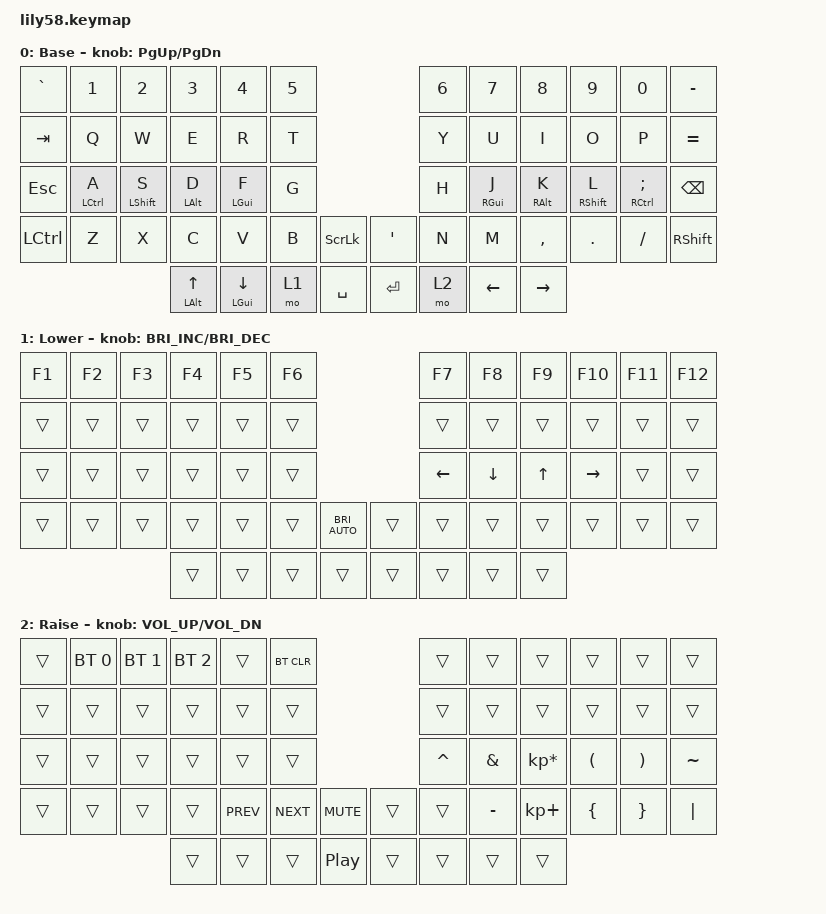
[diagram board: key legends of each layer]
/*
 * Copyright (c) 2020 The ZMK Contributors
 *
 * SPDX-License-Identifier: MIT
 */

#include <behaviors.dtsi>
#include <dt-bindings/zmk/bt.h>
#include <dt-bindings/zmk/keys.h>

/*
 * Lily58 — 3 layers (Base / Lower / Raise), rotary encoder on the LEFT half.
 *
 * Layer access:  hold LOWER (left thumb, `&mo 1`)  ·  hold RAISE (right thumb, `&mo 2`)
 *
 * The "ENC" cell is the left inner-bottom dead slot (no switch fitted). It holds a
 * marker keycode per layer purely so keymap-drawer draws the encoder knob — see
 * CLAUDE.md. The real encoder action is the `sensor-bindings` line on each layer.
 */
/* Homerow mods — urob's "timeless" recipe. See docs/timeless-homerow-mods.md.
 *
 * The tapping term is deliberately long and is NOT what decides tap vs hold:
 *   - balanced          — another key pressed AND released while held = mod, resolves instantly
 *   - prior-idle 150ms  — pressed right after another key = letter, no delay while typing
 *   - trigger positions — next key on the same hand = a roll, so force a letter
 *   - on-release        — defers that check to release, so same-hand mods can still stack
 *   - quick-tap 225ms   — re-pressing the same key after tapping it stays a letter (ff, ll)
 *
 * Position 42 is omitted from KEYS_L: it is the encoder's dead slot, no switch fitted.
 */

#define KEYS_L  0  1  2  3  4  5 12 13 14 15 16 17 24 25 26 27 28 29 36 37 38 39 40 41
#define KEYS_R  6  7  8  9 10 11 18 19 20 21 22 23 30 31 32 33 34 35 43 44 45 46 47 48 49
#define THUMBS 50 51 52 53 54 55 56 57

/ {
    behaviors {
        hml: homerow_mod_left {
            compatible = "zmk,behavior-hold-tap";
            #binding-cells = <2>;
            bindings = <&kp>, <&kp>;

            flavor = "balanced";
            tapping-term-ms = <280>;
            quick-tap-ms = <225>;
            require-prior-idle-ms = <150>;
            hold-trigger-key-positions = <KEYS_R THUMBS>;
            hold-trigger-on-release;
        };

        hmr: homerow_mod_right {
            compatible = "zmk,behavior-hold-tap";
            #binding-cells = <2>;
            bindings = <&kp>, <&kp>;

            flavor = "balanced";
            tapping-term-ms = <280>;
            quick-tap-ms = <225>;
            require-prior-idle-ms = <150>;
            hold-trigger-key-positions = <KEYS_L THUMBS>;
            hold-trigger-on-release;
        };
    };

    keymap {
        compatible = "zmk,keymap";

        /*
         * ## Base
         *
         * |  L1   |  L2  | L3  |  L4  |  L5  |  L6  |  ENC  |  R0  |  R1  |  R2  |  R3  | R4  |  R5  |  R6   |
         * |-------|------|-----|------|------|------|-------|------|------|------|------|-----|------|-------|
         * | `     |  1   |  2  |  3   |  4   |  5   |       |      |  6   |  7   |  8   |  9  |  0   |  -    |
         * | TAB   |  Q   |  W  |  E   |  R   |  T   |       |      |  Y   |  U   |  I   |  O  |  P   |  =    |
         * | ESC   |  A   |  S  |  D   |  F   |  G   |       |      |  H   |  J   |  K   |  L  |  ;   | BSPC  |
         * | LCTRL |  Z   |  X  |  C   |  V   |  B   |  scrl |  '   |  N   |  M   |  ,   |  .  |  /   | RSHFT |
         *
         * Homerow mods on row 3 — tap = letter, hold = modifier:
         *
         * |  A  |  S  |  D  |  F  |     |  J  |  K  |  L  |  ;  |
         * |-----|-----|-----|-----|-----|-----|-----|-----|-----|
         * |  ⌃  |  ⇧  |  ⌥  |  ⌘  |     |  ⌘  |  ⌥  |  ⇧  |  ⌃  |
         *
         * |  LT1  |  LT2  |  LT3  |  LT4  |  RT1  |  RT2  |  RT3  |  RT4  |
         * |-------|-------|-------|-------|-------|-------|-------|-------|
         * | ⌥ / ↑ | ⌘ / ↓ | LOWER | SPACE | ENTER | RAISE |  ←    |  →    |
         *
         * ⌥ / ↑ and ⌘ / ↓ are mod-taps: tap = arrow, hold = modifier.
         * Encoder: PAGE UP / PAGE DOWN.
         */

        default_layer {
            display-name = "Base";
            bindings = <
&kp GRAVE   &kp N1        &kp N2        &kp N3       &kp N4         &kp N5                              &kp N6  &kp N7       &kp N8       &kp N9        &kp N0           &kp MINUS
&kp TAB     &kp Q         &kp W         &kp E        &kp R          &kp T                               &kp Y   &kp U        &kp I        &kp O         &kp P            &kp EQUAL
&kp ESCAPE  &hml LCTRL A  &hml LSHFT S  &hml LALT D  &hml LGUI F    &kp G                               &kp H   &hmr RGUI J  &hmr RALT K  &hmr RSHFT L  &hmr RCTRL SEMI  &kp BACKSPACE
&kp LCTRL   &kp Z         &kp X         &kp C        &kp V          &kp B   &kp SCROLLLOCK    &kp APOS  &kp N   &kp M        &kp COMMA    &kp DOT       &kp FSLH         &kp RSHFT
                                        &mt LALT UP  &mt LGUI DOWN  &mo 1   &kp SPACE         &kp RET   &mo 2   &kp LEFT     &kp RIGHT
            >;

            sensor-bindings = <&inc_dec_kp PAGE_UP PAGE_DOWN>;
        };

        /*
         * ## Lower — vim arrows only, everything else transparent
         *
         * |  L1   |  L2  | L3  |  L4  |  L5  |  L6  |  ENC  |  R0  |  R1  |  R2  |  R3  | R4  |  R5  |  R6   |
         * |-------|------|-----|------|------|------|-------|------|------|------|------|-----|------|-------|
         * |       |      |     |      |      |      |       |      |      |      |      |     |      |       |
         * |       |      |     |      |      |      |       |      |      |      |      |     |      |       |
         * |       |      |     |      |      |      |       |      |  ←   |  ↓   |  ↑   |  →  |      |       |
         * |       |      |     |      |      |      | brght |      |      |      |      |     |      |       |
         *
         * Arrows sit on H / J / K / L. Encoder: brightness up / down.
         */

        lower_layer {
            display-name = "Lower";
            bindings = <
&kp F1  &kp F2  &kp F3  &kp F4  &kp F5  &kp F6                                   &kp F7    &kp F8    &kp F9  &kp F10    &kp F11  &kp F12
&trans  &trans  &trans  &trans  &trans  &trans                                   &trans    &trans    &trans  &trans     &trans   &trans
&trans  &trans  &trans  &trans  &trans  &trans                                   &kp LEFT  &kp DOWN  &kp UP  &kp RIGHT  &trans   &trans
&trans  &trans  &trans  &trans  &trans  &trans  &kp C_BRIGHTNESS_AUTO    &trans  &trans    &trans    &trans  &trans     &trans   &trans
                        &trans  &trans  &trans  &trans                   &trans  &trans    &trans    &trans
            >;

            sensor-bindings = <&inc_dec_kp C_BRIGHTNESS_INC C_BRIGHTNESS_DEC>;
        };

        /*
         * ## Raise — Bluetooth profiles, media, symbols
         *
         * |  L1   |  L2  | L3  |  L4  |  L5  |  L6  |  ENC  |  R0  |  R1  |  R2  |  R3  | R4  |  R5  |  R6   |
         * |-------|------|-----|------|------|------|-------|------|------|------|------|-----|------|-------|
         * |       | BT 0 | BT 1| BT 2 |      | BTCLR|       |      |      |      |      |     |      |       |
         * |       |      |     |      |      |      |       |      |      |      |      |     |      |       |
         * |       |      |     |      |      |      |       |      |  ^   |  &   |  *   |  (  |  )   |  ~    |
         * |       |      |     |      |  ⏮   |  ⏭   |  vol  |      |      |  -   |  +   |  {  |  }   |  \|   |
         *
         * |  LT1  |  LT2  |  LT3  |  LT4  |  RT1  |  RT2  |  RT3  |  RT4  |
         * |-------|-------|-------|-------|-------|-------|-------|-------|
         * |       |       |       |  ⏯    |       |       |       |       |
         *
         * BT 0-2 select a host profile; BTCLR clears the bond on the active one.
         * Encoder: volume up / down.
         */

        raise_layer {
            display-name = "Raise";
            bindings = <
&trans  &bt BT_SEL 0  &bt BT_SEL 1  &bt BT_SEL 2  &trans      &bt BT_CLR                              &trans     &trans     &trans           &trans    &trans    &trans
&trans  &trans        &trans        &trans        &trans      &trans                                  &trans     &trans     &trans           &trans    &trans    &trans
&trans  &trans        &trans        &trans        &trans      &trans                                  &kp CARET  &kp AMPS   &kp KP_MULTIPLY  &kp LPAR  &kp RPAR  &kp TILDE
&trans  &trans        &trans        &trans        &kp C_PREV  &kp C_NEXT  &kp K_MUTE          &trans  &trans     &kp MINUS  &kp KP_PLUS      &kp LBRC  &kp RBRC  &kp PIPE
                                    &trans        &trans      &trans      &kp C_PLAY_PAUSE    &trans  &trans     &trans     &trans
            >;

            sensor-bindings = <&inc_dec_kp C_VOL_UP C_VOL_DN>;
        };
    };
};
